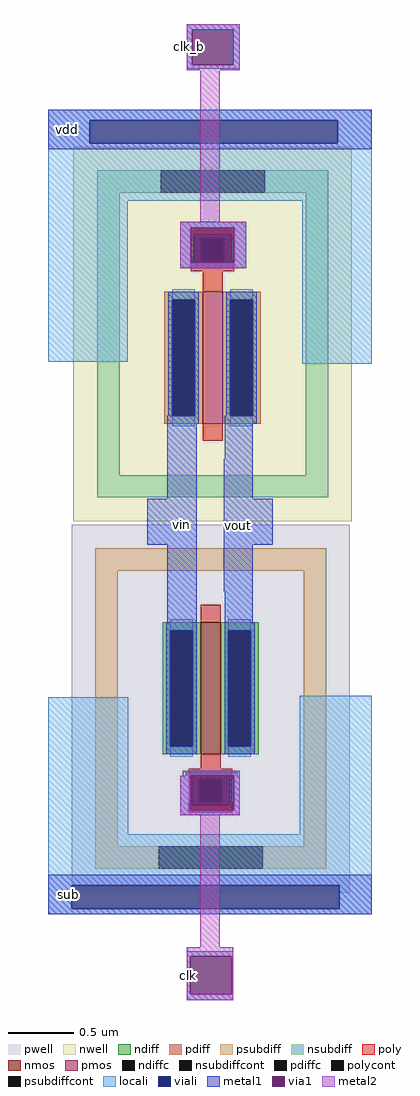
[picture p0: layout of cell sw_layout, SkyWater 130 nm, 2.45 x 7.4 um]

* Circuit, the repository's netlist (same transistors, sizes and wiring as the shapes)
* SPICE3 file created from sw_layout.ext - technology: sky130A

X0 vout clk_b vin vdd sky130_fd_pr__pfet_01v8 ad=0.29 pd=2.58 as=0.29 ps=2.58 w=1 l=0.15
X1 vout clk vin sub sky130_fd_pr__nfet_01v8 ad=0.29 pd=2.58 as=0.29 ps=2.58 w=1 l=0.15

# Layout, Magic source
magic
tech sky130A
magscale 1 2
<< pwell >>
rect 1326 -1043 1408 -1037
rect 1326 -1111 1408 -1049
<< locali >>
rect 1120 -56 1610 -40
rect 1120 -91 1183 -56
rect 1559 -91 1610 -56
rect 1120 -178 1610 -91
rect 1120 -422 1240 -178
rect 1505 -425 1610 -178
rect 1120 -1139 1241 -931
rect 1501 -1139 1610 -929
rect 1120 -1216 1610 -1139
rect 1120 -1252 1155 -1216
rect 1561 -1252 1610 -1216
rect 1120 -1260 1610 -1252
<< viali >>
rect 1183 -91 1559 -56
rect 1155 -1252 1561 -1216
<< metal1 >>
rect 1330 81 1410 90
rect 1330 28 1338 81
rect 1400 28 1410 81
rect 1330 22 1410 28
rect 1120 -56 1610 -40
rect 1120 -91 1183 -56
rect 1559 -91 1610 -56
rect 1120 -100 1610 -91
rect 1320 -219 1420 -210
rect 1320 -272 1336 -219
rect 1402 -272 1420 -219
rect 1320 -280 1420 -272
rect 1300 -630 1345 -504
rect 1387 -510 1432 -504
rect 1387 -570 1430 -510
rect 1270 -700 1345 -630
rect 1300 -830 1345 -700
rect 1386 -630 1430 -570
rect 1386 -700 1460 -630
rect 1386 -770 1430 -700
rect 1387 -830 1430 -770
rect 1328 -1049 1407 -1045
rect 1328 -1050 1335 -1049
rect 1320 -1102 1335 -1050
rect 1401 -1050 1407 -1049
rect 1401 -1102 1410 -1050
rect 1320 -1110 1410 -1102
rect 1120 -1216 1610 -1200
rect 1120 -1252 1155 -1216
rect 1561 -1252 1610 -1216
rect 1120 -1260 1610 -1252
rect 1330 -1324 1400 -1316
rect 1330 -1381 1335 -1324
rect 1398 -1381 1400 -1324
rect 1330 -1390 1400 -1381
<< via1 >>
rect 1338 28 1400 81
rect 1336 -272 1402 -219
rect 1335 -1102 1401 -1049
rect 1335 -1381 1398 -1324
<< metal2 >>
rect 1330 81 1410 90
rect 1330 28 1338 81
rect 1400 28 1410 81
rect 1330 20 1410 28
rect 1350 -210 1380 20
rect 1320 -219 1420 -210
rect 1320 -272 1336 -219
rect 1402 -272 1420 -219
rect 1320 -280 1420 -272
rect 1324 -1049 1410 -1042
rect 1324 -1050 1335 -1049
rect 1320 -1102 1335 -1050
rect 1401 -1102 1410 -1049
rect 1320 -1110 1410 -1102
rect 1350 -1310 1380 -1110
rect 1330 -1324 1400 -1310
rect 1330 -1381 1335 -1324
rect 1398 -1381 1400 -1324
rect 1330 -1390 1400 -1381
use sky130_fd_pr__pfet_01v8_NKK3FE  XM1 ~/saf
transform 1 0 1369 0 1 -380
box -211 -284 211 284
use sky130_fd_pr__nfet_01v8_5WP7M2  XM2 ~/saf
transform -1 0 1366 0 1 -948
box -211 -279 211 279
<< labels >>
flabel metal1 1330 -1390 1335 -1316 0 FreeSans 256 0 0 0 clk
port 0 nsew
flabel metal1 1386 -770 1430 -570 0 FreeSans 256 0 0 0 vout
port 2 nsew
flabel metal1 1300 -769 1345 -569 0 FreeSans 256 0 0 0 vin
port 3 nsew
flabel metal1 1330 22 1338 90 0 FreeSans 256 0 0 0 clk_b
port 5 nsew
flabel metal1 1120 -100 1178 -40 0 FreeSans 256 0 0 0 vdd
port 4 nsew
flabel metal1 1120 -1260 1180 -1200 0 FreeSans 256 0 0 0 sub
port 1 nsew
<< end >>

# cell sky130_fd_pr__pfet_01v8_NKK3FE: kit device sky130_fd_pr__pfet_01v8, w 1.0 l 0.15 m 1 nf 1 diffcov 100 polycov 100 guard 1 glc 0 grc 0 gtc 1 gbc 0 tbcov 100 rlcov 100 topc 1 botc 0 poverlap 0 doverlap 1 lmin 0.15 wmin 0.42 compatible {sky130_fd_pr__pfet_01v8 sky130_fd_pr__pfet_01v8_lvt sky130_fd_pr__pfet_01v8_hvt sky130_fd_pr__pfet_g5v0d10v5} full_metal 0 viasrc 100 viadrn 100 viagate 100 viagb 0 viagr 0 viagl 0 viagt 0

# cell sky130_fd_pr__nfet_01v8_5WP7M2: kit device sky130_fd_pr__nfet_01v8, w 1.0 l 0.15 m 1 nf 1 diffcov 100 polycov 100 guard 1 glc 0 grc 0 gtc 0 gbc 1 tbcov 100 rlcov 100 topc 0 botc 1 poverlap 0 doverlap 1 lmin 0.15 wmin 0.42 compatible {sky130_fd_pr__nfet_01v8 sky130_fd_pr__nfet_01v8_lvt sky130_fd_bs_flash__special_sonosfet_star sky130_fd_pr__nfet_g5v0d10v5 sky130_fd_pr__nfet_05v0_nvt sky130_fd_pr__nfet_03v3_nvt} full_metal 0 viasrc 100 viadrn 100 viagate 100 viagb 0 viagr 0 viagl 0 viagt 0
